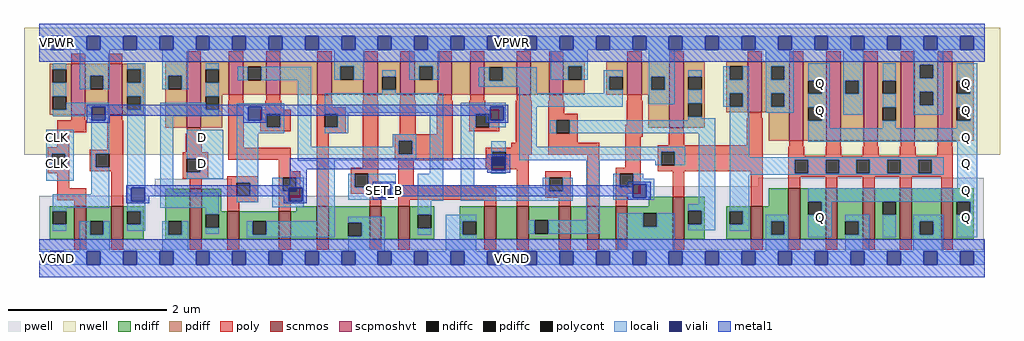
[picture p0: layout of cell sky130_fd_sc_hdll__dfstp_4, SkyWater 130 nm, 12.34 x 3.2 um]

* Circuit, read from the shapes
.subckt sky130_fd_sc_hdll__dfstp_4 CLK D SET_B VGND VNB VPB VPWR Q
XM1 VGND CLK n1 VNB sky130_fd_pr__nfet_01v8 w=0.42 l=0.15
XM2 n2 n1 VGND VNB sky130_fd_pr__nfet_01v8 w=0.42 l=0.15
XM3 n3 D VGND VNB sky130_fd_pr__nfet_01v8 w=0.64 l=0.15
XM4 n4 n1 n3 VNB sky130_fd_pr__nfet_01v8 w=0.36 l=0.15
XM5 n5 n2 n4 VNB sky130_fd_pr__nfet_01v8 w=0.36 l=0.15
XM6 VGND n6 n5 VNB sky130_fd_pr__nfet_01v8 w=0.42 l=0.15
XM7 n7 SET_B VGND VNB sky130_fd_pr__nfet_01v8 w=0.42 l=0.15
XM8 n6 n4 n7 VNB sky130_fd_pr__nfet_01v8 w=0.42 l=0.15
XM9 n8 n4 VGND VNB sky130_fd_pr__nfet_01v8 w=0.42 l=0.15
XM10 n9 n2 n8 VNB sky130_fd_pr__nfet_01v8 w=0.42 l=0.15
XM11 n10 n1 n9 VNB sky130_fd_pr__nfet_01v8 w=0.42 l=0.15
XM12 n11 n12 n10 VNB sky130_fd_pr__nfet_01v8 w=0.42 l=0.15
XM13 VGND SET_B n11 VNB sky130_fd_pr__nfet_01v8 w=0.42 l=0.15
XM14 n12 n9 VGND VNB sky130_fd_pr__nfet_01v8 w=0.54 l=0.15
XM15 VGND n9 n13 VNB sky130_fd_pr__nfet_01v8 w=0.42 l=0.15
XM16 Q n13 VGND VNB sky130_fd_pr__nfet_01v8 w=0.65 l=0.15 m=5
XM17 VPWR CLK n1 VPB sky130_fd_pr__pfet_01v8_hvt w=0.64 l=0.18
XM18 n2 n1 VPWR VPB sky130_fd_pr__pfet_01v8_hvt w=0.64 l=0.18
XM19 n3 D VPWR VPB sky130_fd_pr__pfet_01v8_hvt w=0.84 l=0.18
XM20 n4 n2 n3 VPB sky130_fd_pr__pfet_01v8_hvt w=0.42 l=0.18
XM21 n14 n1 n4 VPB sky130_fd_pr__pfet_01v8_hvt w=0.42 l=0.18
XM22 VPWR n6 n14 VPB sky130_fd_pr__pfet_01v8_hvt w=0.42 l=0.18
XM23 n6 SET_B VPWR VPB sky130_fd_pr__pfet_01v8_hvt w=0.42 l=0.18
XM24 VPWR n4 n6 VPB sky130_fd_pr__pfet_01v8_hvt w=0.42 l=0.18
XM25 n15 n4 VPWR VPB sky130_fd_pr__pfet_01v8_hvt w=0.42 l=0.18
XM26 n9 n1 n15 VPB sky130_fd_pr__pfet_01v8_hvt w=0.42 l=0.18
XM27 n16 n2 n9 VPB sky130_fd_pr__pfet_01v8_hvt w=0.42 l=0.18
XM28 VPWR n12 n16 VPB sky130_fd_pr__pfet_01v8_hvt w=0.42 l=0.18
XM29 VPWR SET_B n9 VPB sky130_fd_pr__pfet_01v8_hvt w=0.42 l=0.18
XM30 n12 n9 VPWR VPB sky130_fd_pr__pfet_01v8_hvt w=0.84 l=0.18
XM31 VPWR n9 n13 VPB sky130_fd_pr__pfet_01v8_hvt w=0.64 l=0.18
XM32 Q n13 VPWR VPB sky130_fd_pr__pfet_01v8_hvt w=1 l=0.18 m=5
.ends

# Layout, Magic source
magic
tech sky130A
magscale 1 2
<< nwell >>
rect -38 261 2430 582
<< pwell >>
rect 293 157 487 201
rect 1819 181 2389 203
rect 1516 157 2389 181
rect 1 21 2389 157
rect 29 -17 63 21
<< scnmos >>
rect 89 47 119 131
rect 183 47 213 131
rect 381 47 411 175
rect 476 47 506 119
rect 606 47 636 119
rect 702 47 732 131
rect 836 47 866 131
rect 908 47 938 131
rect 1126 47 1156 131
rect 1208 47 1238 131
rect 1314 47 1344 131
rect 1386 47 1416 131
rect 1458 47 1488 131
rect 1602 47 1632 155
rect 1800 47 1830 131
rect 1895 47 1925 177
rect 1989 47 2019 177
rect 2083 47 2113 177
rect 2177 47 2207 177
rect 2281 47 2311 177
<< scpmoshvt >>
rect 81 363 117 491
rect 175 363 211 491
rect 373 329 409 497
rect 480 413 516 497
rect 574 413 610 497
rect 704 413 740 497
rect 820 413 856 497
rect 914 413 950 497
rect 1008 413 1044 497
rect 1090 413 1126 497
rect 1208 413 1244 497
rect 1290 413 1326 497
rect 1488 413 1524 497
rect 1594 329 1630 497
rect 1792 369 1828 497
rect 1897 297 1933 497
rect 1991 297 2027 497
rect 2085 297 2121 497
rect 2179 297 2215 497
rect 2273 297 2309 497
<< ndiff >>
rect 27 119 89 131
rect 27 85 35 119
rect 69 85 89 119
rect 27 47 89 85
rect 119 93 183 131
rect 119 59 129 93
rect 163 59 183 93
rect 119 47 183 59
rect 213 119 265 131
rect 213 85 223 119
rect 257 85 265 119
rect 213 47 265 85
rect 319 93 381 175
rect 319 59 327 93
rect 361 59 381 93
rect 319 47 381 59
rect 411 119 461 175
rect 1542 131 1602 155
rect 651 119 702 131
rect 411 111 476 119
rect 411 77 421 111
rect 455 77 476 111
rect 411 47 476 77
rect 506 93 606 119
rect 506 59 541 93
rect 575 59 606 93
rect 506 47 606 59
rect 636 47 702 119
rect 732 89 836 131
rect 732 55 782 89
rect 816 55 836 89
rect 732 47 836 55
rect 866 47 908 131
rect 938 109 1000 131
rect 938 75 958 109
rect 992 75 1000 109
rect 938 47 1000 75
rect 1064 93 1126 131
rect 1064 59 1072 93
rect 1106 59 1126 93
rect 1064 47 1126 59
rect 1156 47 1208 131
rect 1238 95 1314 131
rect 1238 61 1254 95
rect 1288 61 1314 95
rect 1238 47 1314 61
rect 1344 47 1386 131
rect 1416 47 1458 131
rect 1488 113 1602 131
rect 1488 79 1528 113
rect 1562 79 1602 113
rect 1488 47 1602 79
rect 1632 120 1684 155
rect 1845 131 1895 177
rect 1632 86 1642 120
rect 1676 86 1684 120
rect 1632 47 1684 86
rect 1738 119 1800 131
rect 1738 85 1746 119
rect 1780 85 1800 119
rect 1738 47 1800 85
rect 1830 93 1895 131
rect 1830 59 1851 93
rect 1885 59 1895 93
rect 1830 47 1895 59
rect 1925 143 1989 177
rect 1925 109 1945 143
rect 1979 109 1989 143
rect 1925 47 1989 109
rect 2019 93 2083 177
rect 2019 59 2039 93
rect 2073 59 2083 93
rect 2019 47 2083 59
rect 2113 143 2177 177
rect 2113 109 2133 143
rect 2167 109 2177 143
rect 2113 47 2177 109
rect 2207 93 2281 177
rect 2207 59 2227 93
rect 2261 59 2281 93
rect 2207 47 2281 59
rect 2311 143 2363 177
rect 2311 109 2321 143
rect 2355 109 2363 143
rect 2311 47 2363 109
<< pdiff >>
rect 27 477 81 491
rect 27 443 35 477
rect 69 443 81 477
rect 27 409 81 443
rect 27 375 35 409
rect 69 375 81 409
rect 27 363 81 375
rect 117 461 175 491
rect 117 427 129 461
rect 163 427 175 461
rect 117 363 175 427
rect 211 477 265 491
rect 211 443 223 477
rect 257 443 265 477
rect 211 409 265 443
rect 211 375 223 409
rect 257 375 265 409
rect 211 363 265 375
rect 319 461 373 497
rect 319 427 327 461
rect 361 427 373 461
rect 319 329 373 427
rect 409 477 480 497
rect 409 443 421 477
rect 455 443 480 477
rect 409 413 480 443
rect 516 484 574 497
rect 516 450 528 484
rect 562 450 574 484
rect 516 413 574 450
rect 610 413 704 497
rect 740 485 820 497
rect 740 451 762 485
rect 796 451 820 485
rect 740 413 820 451
rect 856 459 914 497
rect 856 425 868 459
rect 902 425 914 459
rect 856 413 914 425
rect 950 485 1008 497
rect 950 451 962 485
rect 996 451 1008 485
rect 950 413 1008 451
rect 1044 413 1090 497
rect 1126 483 1208 497
rect 1126 449 1138 483
rect 1172 449 1208 483
rect 1126 413 1208 449
rect 1244 413 1290 497
rect 1326 485 1380 497
rect 1326 451 1338 485
rect 1372 451 1380 485
rect 1326 413 1380 451
rect 1434 459 1488 497
rect 1434 425 1442 459
rect 1476 425 1488 459
rect 1434 413 1488 425
rect 1524 459 1594 497
rect 1524 425 1548 459
rect 1582 425 1594 459
rect 1524 413 1594 425
rect 409 409 463 413
rect 409 375 421 409
rect 455 375 463 409
rect 409 329 463 375
rect 1541 329 1594 413
rect 1630 459 1684 497
rect 1630 425 1642 459
rect 1676 425 1684 459
rect 1630 391 1684 425
rect 1630 357 1642 391
rect 1676 357 1684 391
rect 1738 485 1792 497
rect 1738 451 1746 485
rect 1780 451 1792 485
rect 1738 417 1792 451
rect 1738 383 1746 417
rect 1780 383 1792 417
rect 1738 369 1792 383
rect 1828 485 1897 497
rect 1828 451 1851 485
rect 1885 451 1897 485
rect 1828 417 1897 451
rect 1828 383 1851 417
rect 1885 383 1897 417
rect 1828 369 1897 383
rect 1630 329 1684 357
rect 1845 297 1897 369
rect 1933 449 1991 497
rect 1933 415 1945 449
rect 1979 415 1991 449
rect 1933 381 1991 415
rect 1933 347 1945 381
rect 1979 347 1991 381
rect 1933 297 1991 347
rect 2027 449 2085 497
rect 2027 415 2039 449
rect 2073 415 2085 449
rect 2027 297 2085 415
rect 2121 449 2179 497
rect 2121 415 2133 449
rect 2167 415 2179 449
rect 2121 381 2179 415
rect 2121 347 2133 381
rect 2167 347 2179 381
rect 2121 297 2179 347
rect 2215 489 2273 497
rect 2215 455 2227 489
rect 2261 455 2273 489
rect 2215 421 2273 455
rect 2215 387 2227 421
rect 2261 387 2273 421
rect 2215 297 2273 387
rect 2309 449 2363 497
rect 2309 415 2321 449
rect 2355 415 2363 449
rect 2309 381 2363 415
rect 2309 347 2321 381
rect 2355 347 2363 381
rect 2309 297 2363 347
<< ndiffc >>
rect 35 85 69 119
rect 129 59 163 93
rect 223 85 257 119
rect 327 59 361 93
rect 421 77 455 111
rect 541 59 575 93
rect 782 55 816 89
rect 958 75 992 109
rect 1072 59 1106 93
rect 1254 61 1288 95
rect 1528 79 1562 113
rect 1642 86 1676 120
rect 1746 85 1780 119
rect 1851 59 1885 93
rect 1945 109 1979 143
rect 2039 59 2073 93
rect 2133 109 2167 143
rect 2227 59 2261 93
rect 2321 109 2355 143
<< pdiffc >>
rect 35 443 69 477
rect 35 375 69 409
rect 129 427 163 461
rect 223 443 257 477
rect 223 375 257 409
rect 327 427 361 461
rect 421 443 455 477
rect 528 450 562 484
rect 762 451 796 485
rect 868 425 902 459
rect 962 451 996 485
rect 1138 449 1172 483
rect 1338 451 1372 485
rect 1442 425 1476 459
rect 1548 425 1582 459
rect 421 375 455 409
rect 1642 425 1676 459
rect 1642 357 1676 391
rect 1746 451 1780 485
rect 1746 383 1780 417
rect 1851 451 1885 485
rect 1851 383 1885 417
rect 1945 415 1979 449
rect 1945 347 1979 381
rect 2039 415 2073 449
rect 2133 415 2167 449
rect 2133 347 2167 381
rect 2227 455 2261 489
rect 2227 387 2261 421
rect 2321 415 2355 449
rect 2321 347 2355 381
<< poly >>
rect 81 491 117 517
rect 175 491 211 517
rect 373 497 409 523
rect 480 497 516 523
rect 574 497 610 523
rect 704 497 740 523
rect 820 497 856 523
rect 914 497 950 523
rect 1008 497 1044 523
rect 1090 497 1126 523
rect 1208 497 1244 523
rect 1290 497 1326 523
rect 1488 497 1524 523
rect 1594 497 1630 523
rect 1792 497 1828 523
rect 1897 497 1933 523
rect 1991 497 2027 523
rect 2085 497 2121 523
rect 2179 497 2215 523
rect 2273 497 2309 523
rect 81 348 117 363
rect 175 348 211 363
rect 46 318 119 348
rect 46 280 76 318
rect 22 264 76 280
rect 173 274 213 348
rect 480 398 516 413
rect 574 398 610 413
rect 704 398 740 413
rect 820 398 856 413
rect 914 398 950 413
rect 1008 398 1044 413
rect 1090 398 1126 413
rect 1208 398 1244 413
rect 1290 398 1326 413
rect 1488 398 1524 413
rect 373 314 409 329
rect 22 230 32 264
rect 66 230 76 264
rect 22 214 76 230
rect 128 264 213 274
rect 371 267 411 314
rect 478 279 518 398
rect 572 375 612 398
rect 702 381 742 398
rect 560 365 636 375
rect 560 331 576 365
rect 610 331 636 365
rect 560 321 636 331
rect 702 365 776 381
rect 702 331 722 365
rect 756 331 776 365
rect 702 315 776 331
rect 128 230 144 264
rect 178 230 213 264
rect 128 220 213 230
rect 46 176 76 214
rect 46 146 119 176
rect 89 131 119 146
rect 183 131 213 220
rect 364 251 428 267
rect 364 217 374 251
rect 408 217 428 251
rect 478 249 636 279
rect 364 201 428 217
rect 606 219 636 249
rect 381 175 411 201
rect 476 191 554 207
rect 476 157 500 191
rect 534 157 554 191
rect 476 141 554 157
rect 606 203 660 219
rect 606 169 616 203
rect 650 169 660 203
rect 606 153 660 169
rect 476 119 506 141
rect 606 119 636 153
rect 702 131 732 315
rect 818 229 858 398
rect 912 313 952 398
rect 1006 313 1046 398
rect 1088 375 1128 398
rect 1088 365 1164 375
rect 1088 331 1104 365
rect 1138 331 1164 365
rect 1088 321 1164 331
rect 900 297 1046 313
rect 900 263 910 297
rect 944 263 1046 297
rect 1206 291 1246 398
rect 1194 279 1246 291
rect 900 247 1046 263
rect 1130 269 1246 279
rect 788 213 858 229
rect 788 179 798 213
rect 832 193 858 213
rect 832 179 866 193
rect 788 163 866 179
rect 836 131 866 163
rect 908 183 948 247
rect 1130 235 1146 269
rect 1180 261 1246 269
rect 1288 365 1328 398
rect 1288 349 1362 365
rect 1288 315 1308 349
rect 1342 315 1362 349
rect 1486 337 1526 398
rect 1288 291 1362 315
rect 1482 307 1526 337
rect 1792 354 1828 369
rect 1594 314 1630 329
rect 1288 261 1416 291
rect 1180 235 1238 261
rect 1130 225 1238 235
rect 908 147 1156 183
rect 908 131 938 147
rect 1126 131 1156 147
rect 1208 131 1238 225
rect 1280 203 1344 219
rect 1280 169 1290 203
rect 1324 169 1344 203
rect 1280 153 1344 169
rect 1314 131 1344 153
rect 1386 131 1416 261
rect 1482 229 1522 307
rect 1592 285 1632 314
rect 1790 285 1830 354
rect 1458 213 1522 229
rect 1564 269 1830 285
rect 1897 282 1933 297
rect 1991 282 2027 297
rect 2085 282 2121 297
rect 2179 282 2215 297
rect 2273 282 2309 297
rect 1564 235 1574 269
rect 1608 235 1830 269
rect 1564 219 1830 235
rect 1458 179 1468 213
rect 1502 179 1522 213
rect 1458 163 1522 179
rect 1458 131 1488 163
rect 1602 155 1632 219
rect 1800 131 1830 219
rect 1895 259 1935 282
rect 1989 259 2029 282
rect 2083 259 2123 282
rect 2177 259 2217 282
rect 2271 259 2311 282
rect 1895 249 2311 259
rect 1895 215 1911 249
rect 1945 215 1989 249
rect 2023 215 2067 249
rect 2101 215 2145 249
rect 2179 215 2223 249
rect 2257 215 2311 249
rect 1895 205 2311 215
rect 1895 177 1925 205
rect 1989 177 2019 205
rect 2083 177 2113 205
rect 2177 177 2207 205
rect 2281 177 2311 205
rect 89 21 119 47
rect 183 21 213 47
rect 381 21 411 47
rect 476 21 506 47
rect 606 21 636 47
rect 702 21 732 47
rect 836 21 866 47
rect 908 21 938 47
rect 1126 21 1156 47
rect 1208 21 1238 47
rect 1314 21 1344 47
rect 1386 21 1416 47
rect 1458 21 1488 47
rect 1602 21 1632 47
rect 1800 21 1830 47
rect 1895 21 1925 47
rect 1989 21 2019 47
rect 2083 21 2113 47
rect 2177 21 2207 47
rect 2281 21 2311 47
<< polycont >>
rect 32 230 66 264
rect 576 331 610 365
rect 722 331 756 365
rect 144 230 178 264
rect 374 217 408 251
rect 500 157 534 191
rect 616 169 650 203
rect 1104 331 1138 365
rect 910 263 944 297
rect 798 179 832 213
rect 1146 235 1180 269
rect 1308 315 1342 349
rect 1290 169 1324 203
rect 1574 235 1608 269
rect 1468 179 1502 213
rect 1911 215 1945 249
rect 1989 215 2023 249
rect 2067 215 2101 249
rect 2145 215 2179 249
rect 2223 215 2257 249
<< locali >>
rect 0 527 29 561
rect 63 527 121 561
rect 155 527 213 561
rect 247 527 305 561
rect 339 527 397 561
rect 431 527 489 561
rect 523 527 581 561
rect 615 527 673 561
rect 707 527 765 561
rect 799 527 857 561
rect 891 527 949 561
rect 983 527 1041 561
rect 1075 527 1133 561
rect 1167 527 1225 561
rect 1259 527 1317 561
rect 1351 527 1409 561
rect 1443 527 1501 561
rect 1535 527 1593 561
rect 1627 527 1685 561
rect 1719 527 1777 561
rect 1811 527 1869 561
rect 1903 527 1961 561
rect 1995 527 2053 561
rect 2087 527 2145 561
rect 2179 527 2237 561
rect 2271 527 2329 561
rect 2363 527 2392 561
rect 35 477 69 493
rect 35 409 69 443
rect 103 461 179 527
rect 103 427 129 461
rect 163 427 179 461
rect 223 477 268 493
rect 257 443 268 477
rect 223 409 268 443
rect 311 461 377 527
rect 311 427 327 461
rect 361 427 377 461
rect 421 477 455 493
rect 746 485 822 527
rect 502 450 528 484
rect 562 450 688 484
rect 746 451 762 485
rect 796 451 822 485
rect 936 485 1012 527
rect 868 459 902 475
rect 69 382 178 393
rect 69 375 133 382
rect 35 359 133 375
rect 132 348 133 359
rect 167 348 178 382
rect 18 264 88 325
rect 18 230 32 264
rect 66 230 88 264
rect 18 195 88 230
rect 132 264 178 348
rect 132 230 144 264
rect 132 161 178 230
rect 35 127 178 161
rect 257 375 268 409
rect 421 409 455 443
rect 223 178 268 375
rect 223 144 233 178
rect 267 144 268 178
rect 35 119 69 127
rect 223 119 268 144
rect 306 375 421 393
rect 306 359 455 375
rect 500 382 620 391
rect 306 165 340 359
rect 500 348 529 382
rect 563 365 620 382
rect 563 348 576 365
rect 500 331 576 348
rect 610 331 620 365
rect 374 251 466 325
rect 408 217 466 251
rect 374 201 466 217
rect 500 315 620 331
rect 500 191 554 315
rect 654 281 688 450
rect 936 451 962 485
rect 996 451 1012 485
rect 1294 485 1388 527
rect 1112 449 1138 483
rect 1172 449 1258 483
rect 1294 451 1338 485
rect 1372 451 1388 485
rect 1428 459 1476 475
rect 1112 433 1258 449
rect 868 417 902 425
rect 1214 417 1258 433
rect 1428 425 1442 459
rect 1428 417 1476 425
rect 722 367 1022 417
rect 722 365 782 367
rect 756 331 782 365
rect 722 315 782 331
rect 894 297 954 313
rect 894 281 910 297
rect 654 263 910 281
rect 944 263 954 297
rect 654 247 954 263
rect 654 246 748 247
rect 306 127 455 165
rect 534 157 554 191
rect 500 141 554 157
rect 590 169 616 203
rect 650 178 670 203
rect 590 144 631 169
rect 665 144 670 178
rect 590 129 670 144
rect 35 69 69 85
rect 103 59 129 93
rect 163 59 179 93
rect 257 85 268 119
rect 421 111 455 127
rect 223 69 268 85
rect 103 17 179 59
rect 311 59 327 93
rect 361 59 377 93
rect 704 93 748 246
rect 988 213 1022 367
rect 782 179 798 213
rect 832 187 902 213
rect 832 179 856 187
rect 782 153 856 179
rect 890 153 902 187
rect 782 147 902 153
rect 958 145 1022 213
rect 1066 382 1180 393
rect 1066 365 1141 382
rect 1066 331 1104 365
rect 1138 348 1141 365
rect 1175 348 1180 382
rect 1138 331 1180 348
rect 1214 383 1476 417
rect 1542 459 1608 527
rect 1838 485 1909 527
rect 1542 425 1548 459
rect 1582 425 1608 459
rect 1542 389 1608 425
rect 1642 459 1676 475
rect 1642 391 1676 425
rect 1066 179 1100 331
rect 1144 269 1180 295
rect 1144 256 1146 269
rect 1144 222 1145 256
rect 1214 281 1258 383
rect 1730 451 1746 485
rect 1780 451 1796 485
rect 1730 417 1796 451
rect 1730 383 1746 417
rect 1780 383 1796 417
rect 1642 353 1676 357
rect 1642 349 1710 353
rect 1292 315 1308 349
rect 1342 315 1710 349
rect 1214 269 1634 281
rect 1214 247 1574 269
rect 1179 222 1180 235
rect 1144 213 1180 222
rect 1274 179 1290 203
rect 1066 169 1290 179
rect 1324 169 1350 203
rect 1066 145 1350 169
rect 958 109 992 145
rect 421 61 455 77
rect 311 17 377 59
rect 525 59 541 93
rect 575 59 748 93
rect 525 53 748 59
rect 782 89 874 105
rect 816 55 874 89
rect 958 59 992 75
rect 1028 93 1106 109
rect 1384 95 1418 247
rect 1558 235 1574 247
rect 1608 235 1634 269
rect 1452 179 1468 213
rect 1502 201 1528 213
rect 1502 187 1556 201
rect 1452 153 1501 179
rect 1535 153 1556 187
rect 1452 147 1556 153
rect 1668 136 1710 315
rect 1642 120 1710 136
rect 1028 59 1072 93
rect 1238 61 1254 95
rect 1288 61 1418 95
rect 1464 79 1528 113
rect 1562 79 1606 113
rect 782 17 874 55
rect 1028 17 1106 59
rect 1464 17 1606 79
rect 1676 86 1710 120
rect 1642 70 1710 86
rect 1746 255 1796 383
rect 1838 451 1851 485
rect 1885 451 1909 485
rect 1838 417 1909 451
rect 1838 383 1851 417
rect 1885 383 1909 417
rect 1838 367 1909 383
rect 1945 449 1999 493
rect 1979 415 1999 449
rect 1945 381 1999 415
rect 1979 347 1999 381
rect 2033 449 2084 527
rect 2033 415 2039 449
rect 2073 415 2084 449
rect 2033 362 2084 415
rect 2133 449 2167 493
rect 2133 381 2167 415
rect 1945 328 1999 347
rect 2211 489 2287 527
rect 2211 455 2227 489
rect 2261 455 2287 489
rect 2211 421 2287 455
rect 2211 387 2227 421
rect 2261 387 2287 421
rect 2211 362 2287 387
rect 2321 449 2372 493
rect 2355 415 2372 449
rect 2321 381 2372 415
rect 2133 328 2167 347
rect 2355 347 2372 381
rect 2321 328 2372 347
rect 1945 294 2372 328
rect 1746 249 2288 255
rect 1746 215 1911 249
rect 1945 215 1989 249
rect 2023 215 2067 249
rect 2101 215 2145 249
rect 2179 215 2223 249
rect 2257 215 2288 249
rect 1746 211 2288 215
rect 1746 119 1796 211
rect 2322 177 2372 294
rect 1780 85 1796 119
rect 1945 143 2372 177
rect 1979 109 2005 143
rect 2355 109 2372 143
rect 1746 69 1796 85
rect 1838 93 1895 109
rect 1838 59 1851 93
rect 1885 59 1895 93
rect 1838 17 1895 59
rect 1945 53 2005 109
rect 2039 93 2099 109
rect 2073 59 2099 93
rect 2039 17 2099 59
rect 2133 53 2167 109
rect 2211 93 2287 109
rect 2211 59 2227 93
rect 2261 59 2287 93
rect 2211 17 2287 59
rect 2321 53 2372 109
rect 0 -17 29 17
rect 63 -17 121 17
rect 155 -17 213 17
rect 247 -17 305 17
rect 339 -17 397 17
rect 431 -17 489 17
rect 523 -17 581 17
rect 615 -17 673 17
rect 707 -17 765 17
rect 799 -17 857 17
rect 891 -17 949 17
rect 983 -17 1041 17
rect 1075 -17 1133 17
rect 1167 -17 1225 17
rect 1259 -17 1317 17
rect 1351 -17 1409 17
rect 1443 -17 1501 17
rect 1535 -17 1593 17
rect 1627 -17 1685 17
rect 1719 -17 1777 17
rect 1811 -17 1869 17
rect 1903 -17 1961 17
rect 1995 -17 2053 17
rect 2087 -17 2145 17
rect 2179 -17 2237 17
rect 2271 -17 2329 17
rect 2363 -17 2392 17
<< viali >>
rect 29 527 63 561
rect 121 527 155 561
rect 213 527 247 561
rect 305 527 339 561
rect 397 527 431 561
rect 489 527 523 561
rect 581 527 615 561
rect 673 527 707 561
rect 765 527 799 561
rect 857 527 891 561
rect 949 527 983 561
rect 1041 527 1075 561
rect 1133 527 1167 561
rect 1225 527 1259 561
rect 1317 527 1351 561
rect 1409 527 1443 561
rect 1501 527 1535 561
rect 1593 527 1627 561
rect 1685 527 1719 561
rect 1777 527 1811 561
rect 1869 527 1903 561
rect 1961 527 1995 561
rect 2053 527 2087 561
rect 2145 527 2179 561
rect 2237 527 2271 561
rect 2329 527 2363 561
rect 133 348 167 382
rect 233 144 267 178
rect 529 348 563 382
rect 631 169 650 178
rect 650 169 665 178
rect 631 144 665 169
rect 856 153 890 187
rect 1141 348 1175 382
rect 1145 235 1146 256
rect 1146 235 1179 256
rect 1145 222 1179 235
rect 1501 179 1502 187
rect 1502 179 1535 187
rect 1501 153 1535 179
rect 29 -17 63 17
rect 121 -17 155 17
rect 213 -17 247 17
rect 305 -17 339 17
rect 397 -17 431 17
rect 489 -17 523 17
rect 581 -17 615 17
rect 673 -17 707 17
rect 765 -17 799 17
rect 857 -17 891 17
rect 949 -17 983 17
rect 1041 -17 1075 17
rect 1133 -17 1167 17
rect 1225 -17 1259 17
rect 1317 -17 1351 17
rect 1409 -17 1443 17
rect 1501 -17 1535 17
rect 1593 -17 1627 17
rect 1685 -17 1719 17
rect 1777 -17 1811 17
rect 1869 -17 1903 17
rect 1961 -17 1995 17
rect 2053 -17 2087 17
rect 2145 -17 2179 17
rect 2237 -17 2271 17
rect 2329 -17 2363 17
<< metal1 >>
rect 0 561 2392 592
rect 0 527 29 561
rect 63 527 121 561
rect 155 527 213 561
rect 247 527 305 561
rect 339 527 397 561
rect 431 527 489 561
rect 523 527 581 561
rect 615 527 673 561
rect 707 527 765 561
rect 799 527 857 561
rect 891 527 949 561
rect 983 527 1041 561
rect 1075 527 1133 561
rect 1167 527 1225 561
rect 1259 527 1317 561
rect 1351 527 1409 561
rect 1443 527 1501 561
rect 1535 527 1593 561
rect 1627 527 1685 561
rect 1719 527 1777 561
rect 1811 527 1869 561
rect 1903 527 1961 561
rect 1995 527 2053 561
rect 2087 527 2145 561
rect 2179 527 2237 561
rect 2271 527 2329 561
rect 2363 527 2392 561
rect 0 496 2392 527
rect 121 382 1187 388
rect 121 348 133 382
rect 167 360 529 382
rect 167 348 179 360
rect 121 342 179 348
rect 517 348 529 360
rect 563 360 1141 382
rect 563 348 575 360
rect 517 342 575 348
rect 1129 348 1141 360
rect 1175 348 1187 382
rect 1129 342 1187 348
rect 1133 256 1191 262
rect 1133 252 1145 256
rect 634 224 1145 252
rect 634 184 677 224
rect 1133 222 1145 224
rect 1179 222 1191 256
rect 1133 216 1191 222
rect 221 178 677 184
rect 221 144 233 178
rect 267 156 631 178
rect 267 144 279 156
rect 221 138 279 144
rect 619 144 631 156
rect 665 144 677 178
rect 844 187 902 193
rect 844 153 856 187
rect 890 184 902 187
rect 1489 187 1547 193
rect 1489 184 1501 187
rect 890 156 1501 184
rect 890 153 902 156
rect 844 147 902 153
rect 1489 153 1501 156
rect 1535 153 1547 187
rect 1489 147 1547 153
rect 619 138 677 144
rect 0 17 2392 48
rect 0 -17 29 17
rect 63 -17 121 17
rect 155 -17 213 17
rect 247 -17 305 17
rect 339 -17 397 17
rect 431 -17 489 17
rect 523 -17 581 17
rect 615 -17 673 17
rect 707 -17 765 17
rect 799 -17 857 17
rect 891 -17 949 17
rect 983 -17 1041 17
rect 1075 -17 1133 17
rect 1167 -17 1225 17
rect 1259 -17 1317 17
rect 1351 -17 1409 17
rect 1443 -17 1501 17
rect 1535 -17 1593 17
rect 1627 -17 1685 17
rect 1719 -17 1777 17
rect 1811 -17 1869 17
rect 1903 -17 1961 17
rect 1995 -17 2053 17
rect 2087 -17 2145 17
rect 2179 -17 2237 17
rect 2271 -17 2329 17
rect 2363 -17 2392 17
rect 0 -48 2392 -17
<< labels >>
flabel locali s 2329 357 2363 391 0 FreeSans 400 0 0 0 Q
port 8 nsew signal output
flabel locali s 2329 425 2363 459 0 FreeSans 400 0 0 0 Q
port 8 nsew signal output
flabel locali s 2329 153 2363 187 0 FreeSans 400 0 0 0 Q
port 8 nsew signal output
flabel locali s 2329 85 2363 119 0 FreeSans 400 0 0 0 Q
port 8 nsew signal output
flabel locali s 2329 289 2363 323 0 FreeSans 400 0 0 0 Q
port 8 nsew signal output
flabel locali s 2329 221 2363 255 0 FreeSans 400 0 0 0 Q
port 8 nsew signal output
flabel locali s 397 289 431 323 0 FreeSans 200 0 0 0 D
port 2 nsew signal input
flabel locali s 397 221 431 255 0 FreeSans 200 0 0 0 D
port 2 nsew signal input
flabel locali s 29 527 63 561 3 FreeSans 400 0 0 0 VPWR
port 7 nsew power bidirectional
flabel locali s 1960 425 1994 459 0 FreeSans 400 0 0 0 Q
port 8 nsew signal output
flabel locali s 1960 357 1994 391 0 FreeSans 400 0 0 0 Q
port 8 nsew signal output
flabel locali s 1960 85 1994 119 0 FreeSans 400 0 0 0 Q
port 8 nsew signal output
flabel locali s 29 289 63 323 0 FreeSans 400 0 0 0 CLK
port 1 nsew signal input
flabel locali s 29 221 63 255 0 FreeSans 400 0 0 0 CLK
port 1 nsew signal input
flabel locali s 29 -17 63 17 3 FreeSans 400 0 0 0 VGND
port 4 nsew ground bidirectional
flabel nwell s 29 527 63 561 0 FreeSans 200 0 0 0 VPB
port 6 nsew power bidirectional
flabel nwell s 46 544 46 544 3 FreeSans 400 0 0 0 VPB
port 6 nsew
flabel pwell s 29 -17 63 17 0 FreeSans 200 0 0 0 VNB
port 5 nsew ground bidirectional
flabel pwell s 46 0 46 0 3 FreeSans 400 0 0 0 VNB
port 5 nsew
flabel metal1 s 29 527 63 561 0 FreeSans 200 0 0 0 VPWR
port 7 nsew power bidirectional
flabel metal1 s 29 -17 63 17 0 FreeSans 200 0 0 0 VGND
port 4 nsew ground bidirectional
flabel metal1 s 857 153 891 187 0 FreeSans 400 0 0 0 SET_B
port 3 nsew signal input
rlabel comment s 0 0 0 0 4 dfstp_4
rlabel metal1 s 0 -48 2392 48 1 VGND
port 4 nsew ground bidirectional
rlabel metal1 s 0 496 2392 592 1 VPWR
port 7 nsew power bidirectional
<< properties >>
string LEFsite unithd
string LEFclass CORE
string FIXED_BBOX 0 0 2392 544
string GDS_FILE $PDKPATH/libs.ref/sky130_fd_sc_hdll/gds/sky130_fd_sc_hdll.gds
string LEFsymmetry X Y R90
string GDS_END 411644
string GDS_START 393186
string LEFproperties maskLayoutSubType "abstract" prCellType "standard" originalViewName "layout"
<< end >>
